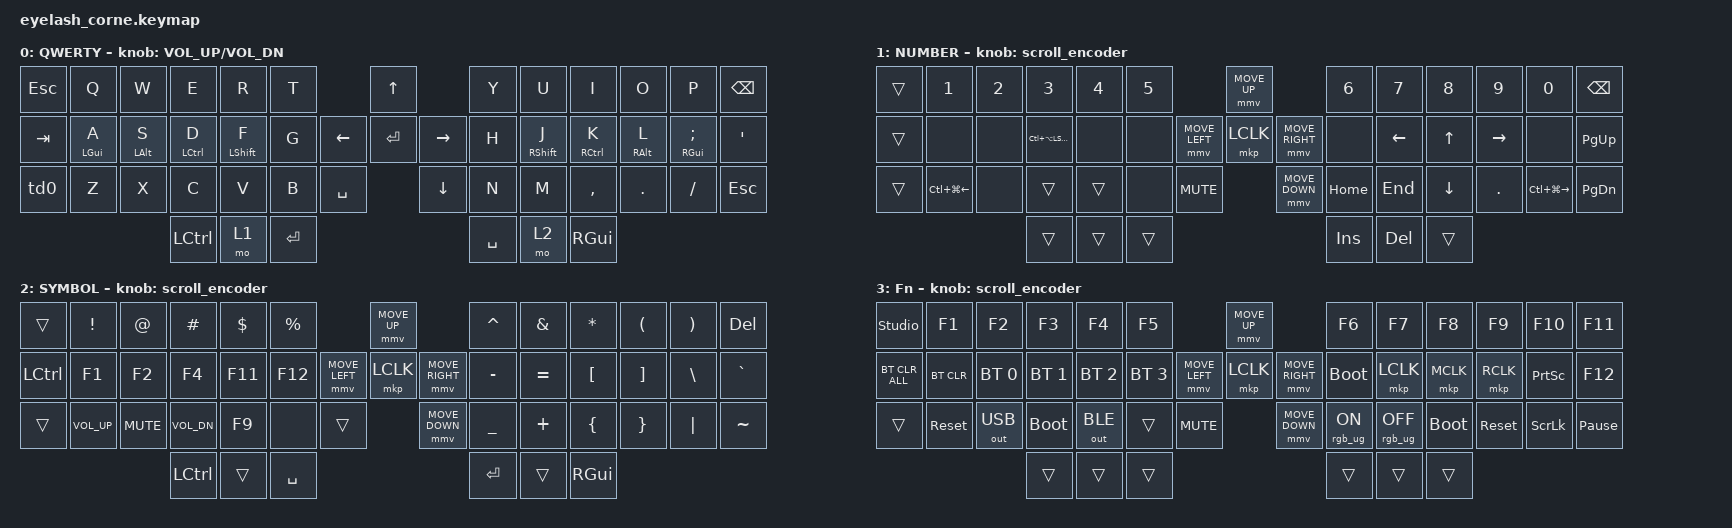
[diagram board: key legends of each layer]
#define ZMK_POINTING_DEFAULT_MOVE_VAL 1200  // 600
#define ZMK_POINTING_DEFAULT_SCRL_VAL 25   // 10

#include <input/processors.dtsi>
#include <zephyr/dt-bindings/input/input-event-codes.h>
#include <behaviors.dtsi>
#include <dt-bindings/zmk/bt.h>
#include <dt-bindings/zmk/keys.h>
#include <dt-bindings/zmk/outputs.h>
#include <dt-bindings/zmk/pointing.h>
#include <dt-bindings/zmk/rgb.h>

&mmv_input_listener { input-processors = <&zip_xy_scaler 2 1>; };

&msc_input_listener { input-processors = <&zip_scroll_scaler 2 1>; };

&msc {
    acceleration-exponent = <1>;      // 0
    time-to-max-speed-ms = <100>;       // 300
    delay-ms = <0>;                   // 0
};

&mmv {
    time-to-max-speed-ms = <500>;
    acceleration-exponent = <1>;
    trigger-period-ms = <16>;
};

&soft_off { hold-time-ms = <2000>; };

/ {
    behaviors {
        td0: td0 {
            compatible = "zmk,behavior-tap-dance";
            display-name = "Shift/Caps Lock Tap Dance";
            #binding-cells = <0>;
            bindings = <&kp LEFT_SHIFT>, <&kp CAPS>;
        };

        hmr: hmr {
            compatible = "zmk,behavior-hold-tap";
            label = "hmr";
            bindings = <&kp>, <&kp>;

            #binding-cells = <2>;
            tapping-term-ms = <280>;
            quick-tap-ms = <175>;
            require-prior-idle-ms = <150>;
            flavor = "balanced";
            hold-trigger-on-release;
            hold-trigger-key-positions = <0 1 2 3 4 5 13 14 15 16 17 18 28 29 30 31 32 33 34 42 43 44 45 46 47>;
        };

        hml: hml {
            compatible = "zmk,behavior-hold-tap";
            label = "hml";
            bindings = <&kp>, <&kp>;

            #binding-cells = <2>;
            tapping-term-ms = <280>;
            quick-tap-ms = <175>;
            require-prior-idle-ms = <150>;
            flavor = "balanced";
            hold-trigger-on-release;
            hold-trigger-key-positions = <7 8 10 11 12 22 23 24 25 26 27 36 37 38 39 40 41 46 47 9 45 44 43 42>;
        };
    };

    rgb_encoder: rgb_encoder {
        compatible = "zmk,behavior-sensor-rotate";
        #sensor-binding-cells = <0>;
        bindings = <&rgb_ug RGB_BRI>, <&rgb_ug RGB_BRD>;
    };

    scroll_encoder: scroll_encoder {
        compatible = "zmk,behavior-sensor-rotate";
        #sensor-binding-cells = <0>;
        bindings = <&msc SCRL_DOWN>, <&msc SCRL_UP>;

        tap-ms = <100>;
    };

    combos {
        compatible = "zmk,combos";

        softoff {
            bindings = <&soft_off>;
            key-positions = <1 15 29>;
        };

        Layer_3 {
            bindings = <&mo 3>;
            key-positions = <43 46>;
        };
    };

    keymap {
        compatible = "zmk,keymap";

        default_layer {
            display-name = "QWERTY";
            bindings = <
&kp ESCAPE  &kp Q        &kp W        &kp E             &kp R          &kp T                             &kp UP                &kp Y      &kp U          &kp I         &kp O        &kp P                &kp BSPC
&kp TAB     &hml LGUI A  &hml LALT S  &hml LCTRL D      &hml LSHIFT F  &kp G                   &kp LEFT  &kp ENTER  &kp RIGHT  &kp H      &hmr RSHIFT J  &hmr RCTRL K  &hmr RALT L  &hmr RGUI SEMICOLON  &kp SQT
&td0        &kp Z        &kp X        &kp C             &kp V          &kp B      &kp SPACE              &kp DOWN              &kp N      &kp M          &kp COMMA     &kp DOT      &kp FSLH             &kp ESC
                                      &kp LEFT_CONTROL  &mo 1          &kp ENTER                                               &kp SPACE  &mo 2          &kp RGUI
            >;

            sensor-bindings = <&inc_dec_kp C_VOLUME_UP C_VOL_DN>;
        };

        lower_layer {
            display-name = "NUMBER";
            bindings = <
&trans  &kp N1            &kp N2  &kp N3              &kp N4  &kp N5                                &mmv MOVE_UP                     &kp N6    &kp N7    &kp N8    &kp N9      &kp N0             &kp BSPC
&trans  &none             &none   &kp LC(LA(LSHIFT))  &none   &none                 &mmv MOVE_LEFT  &mkp LCLK       &mmv MOVE_RIGHT  &none     &kp LEFT  &kp UP    &kp RIGHT   &none              &kp PG_UP
&trans  &kp LC(LG(LEFT))  &none   &trans              &trans  &none   &kp C_MUTE                    &mmv MOVE_DOWN                   &kp HOME  &kp END   &kp DOWN  &kp PERIOD  &kp LC(LG(RIGHT))  &kp PG_DN
                                  &trans              &trans  &trans                                                                 &kp INS   &kp DEL   &trans
            >;

            sensor-bindings = <&scroll_encoder>;
        };

        raise_layer {
            display-name = "SYMBOL";
            bindings = <
&trans            &kp EXCL         &kp AT      &kp HASH      &kp DLLR  &kp PRCNT                            &mmv MOVE_UP                     &kp CARET  &kp AMPS   &kp ASTRK  &kp LPAR  &kp RPAR  &kp DELETE
&kp LEFT_CONTROL  &kp F1           &kp F2      &kp F4        &kp F11   &kp F12              &mmv MOVE_LEFT  &mkp LCLK       &mmv MOVE_RIGHT  &kp MINUS  &kp EQUAL  &kp LBKT   &kp RBKT  &kp BSLH  &kp GRAVE
&trans            &kp C_VOLUME_UP  &kp K_MUTE  &kp C_VOL_DN  &kp F9    &none      &trans                    &mmv MOVE_DOWN                   &kp UNDER  &kp PLUS   &kp LBRC   &kp RBRC  &kp PIPE  &kp TILDE
                                               &kp LCTRL     &trans    &kp SPACE                                                             &kp RET    &trans     &kp RGUI
            >;

            sensor-bindings = <&scroll_encoder>;
        };

        layer_3 {
            display-name = "Fn";
            bindings = <
&studio_unlock  &kp F1      &kp F2        &kp F3        &kp F4        &kp F5                                      &mmv MOVE_UP                     &kp F6          &kp F7           &kp F8       &kp F9      &kp F10          &kp F11
&bt BT_CLR_ALL  &bt BT_CLR  &bt BT_SEL 0  &bt BT_SEL 1  &bt BT_SEL 2  &bt BT_SEL 3                &mmv MOVE_LEFT  &mkp LCLK       &mmv MOVE_RIGHT  &bootloader     &mkp LCLK        &mkp MCLK    &mkp RCLK   &kp PRINTSCREEN  &kp F12
&trans          &sys_reset  &out OUT_USB  &bootloader   &out OUT_BLE  &trans        &kp C_MUTE                    &mmv MOVE_DOWN                   &rgb_ug RGB_ON  &rgb_ug RGB_OFF  &bootloader  &sys_reset  &kp SCROLLLOCK   &kp PAUSE_BREAK
                                          &trans        &trans        &trans                                                                       &trans          &trans           &trans
            >;

            sensor-bindings = <&scroll_encoder>;
        };
    };
};
